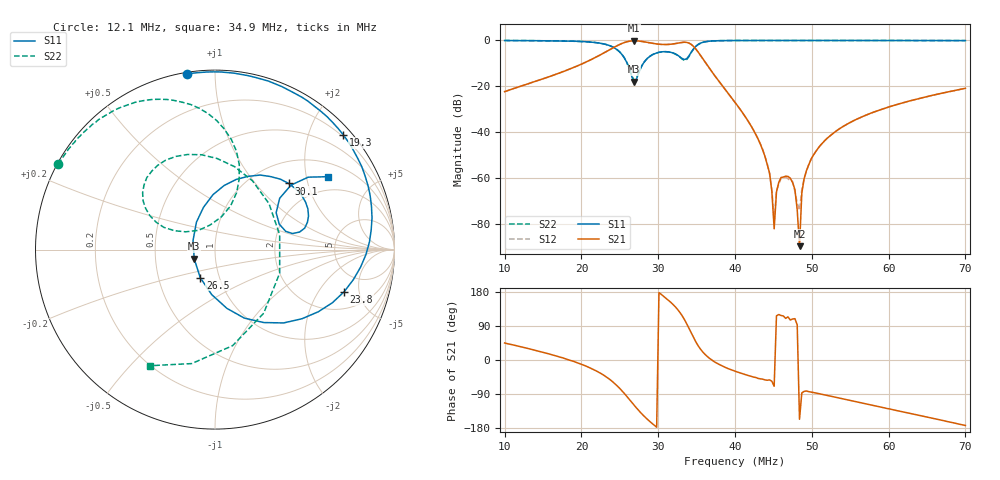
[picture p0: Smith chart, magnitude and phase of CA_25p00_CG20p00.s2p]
#  HZ  S  RI  R  50.00
! Rohde & Schwarz ZVT8 8Ports - Version 4.11 - 1300.0000k08 SN: 100242
! Date: 2026-07-31 14:33:42
! Measurements: S11 S21 S12 S22
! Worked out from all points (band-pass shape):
!   201 points, 10 MHz to 70 MHz, reference 50 ohm
!   highest |S21| = -0.15 dB at 26.8 MHz (marker M1); lowest = -89.5 dB at 48.4 MHz (marker M2)
!   |S21| within 3 dB of the highest: 24.16 MHz to 34.75 MHz (10.58 MHz wide, 35.9 % of centre)
!   lowest |S11| = -18.0 dB at 26.8 MHz (marker M3), VSWR 1.29, Z = 39.4 - j4.09 ohm
!   |S11| at or under -10 dB: 25.96 MHz to 28.06 MHz (2.101 MHz wide, 7.78 % of centre)
!   |S22| runs from -17.1 to 0.0 dB; largest |S21 - S12| = 0.0033
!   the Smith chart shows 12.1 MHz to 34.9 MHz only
!   S11 on the Smith chart (normalised r, x): 12.1 MHz: 0.01, +0.85; 19.3 MHz: 0.16, +2.61; 23.8 MHz: 3.19, -3.51; 26.5 MHz: 0.81, -0.26; 30.1 MHz: 1.44, +1.53; 34.9 MHz: 1.45, +2.68
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1e7  -0.4001 0.9125  0.0545 0.0544  0.0543 0.0545  -0.9166 0.3896
1.21e7  -0.1543 0.9797  0.083 0.0583  0.0826 0.058  -0.873 0.4746
1.93e7  0.7157 0.6385  0.2699 -0.0294  0.2705 -0.0286  -0.5719 0.7704
2.02e7  0.7939 0.511  0.3081 -0.0705  0.3071 -0.0701  -0.5014 0.8009
2.38e7  0.7196 -0.2347  0.389 -0.5144  0.3892 -0.5143  -0.0377 0.7571
2.65e7  -0.0823 -0.1563  -0.3386 -0.9146  -0.3399 -0.915  0.0346 0.1813
2.68e7  -0.1159 -0.051  -0.4568 -0.8706  -0.4566 -0.8703  -0.0282 0.1364
3.01e7  0.4106 0.3684  -0.828 0.0317  -0.8264 0.0302  -0.3802 0.4008
3.34e7  0.3579 0.1419  -0.2719 0.874  -0.2728 0.8728  0.3603 0.0832
3.49e7  0.6285 0.4062  0.4369 0.4826  0.4388 0.4798  -0.3619 -0.6469
3.64e7  0.9476 0.1067  0.2836 0.0453  0.2834 0.0456  -0.9348 -0.1737
4e7  0.8449 -0.5276  0.0392 -0.0222  0.0391 -0.0222  -0.8794 0.4692
4.39e7  0.4672 -0.8826  0.00183 -0.00239  0.00184 -0.00238  -0.6953 0.7151
4.51e7  0.3322 -0.9415  2.83e-05 -7.48e-05  -1.15e-05 0.000118  -0.6428 0.7635
4.57e7  0.2617 -0.9629  -0.00041 0.000709  -0.00039 0.000638  -0.6161 0.7846
4.66e7  0.1557 -0.9867  -0.000378 0.00105  -0.000379 0.000992  -0.5772 0.8138
4.78e7  0.0157 -0.9981  -0.000187 0.000542  -0.000134 0.000501  -0.5259 0.8464
4.84e7  -0.0553 -0.9971  -3.08e-05 -1.34e-05  3.04e-05 -0.000199  -0.5021 0.8617
4.9e7  -0.1258 -0.9911  0.000122 -0.000971  0.0001 -0.000986  -0.4773 0.875
5.02e7  -0.2611 -0.9637  0.000234 -0.00317  0.000256 -0.00317  -0.428 0.9005
6.01e7  -0.9785 -0.1829  -0.0227 -0.0281  -0.0227 -0.028  -0.0267 0.9961
7e7  -0.5853 0.8013  -0.0904 -0.0114  -0.0902 -0.0113  0.366 0.9234
